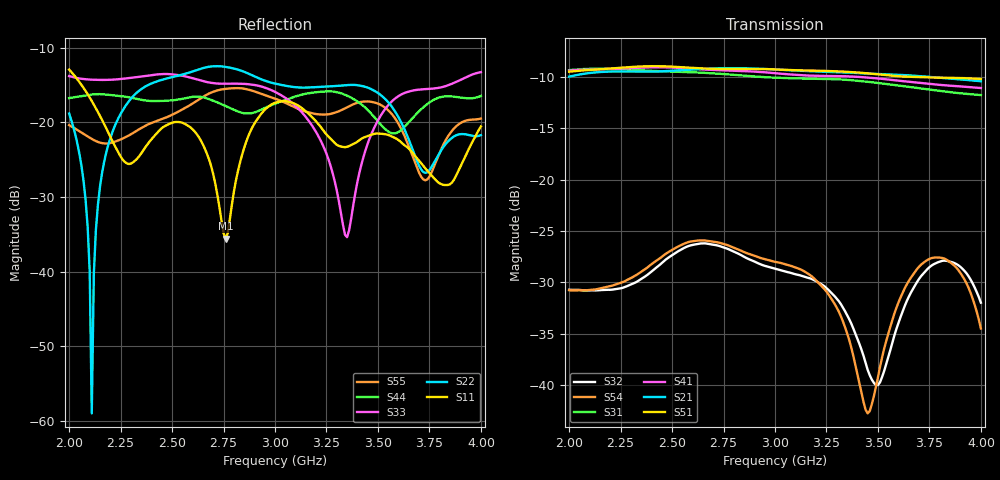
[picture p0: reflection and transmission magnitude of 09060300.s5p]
! Created with skrf 1.8.0 (http://scikit-rf.org).
# Hz S RI R 50.0
!freq ReS11 ImS11 ReS12 ImS12 ReS13 ImS13
! ReS14 ImS14 ReS15 ImS15
! ReS21 ImS21 ReS22 ImS22 ReS23 ImS23
! ReS24 ImS24 ReS25 ImS25
! ReS31 ImS31 ReS32 ImS32 ReS33 ImS33
! ReS34 ImS34 ReS35 ImS35
! ReS41 ImS41 ReS42 ImS42 ReS43 ImS43
! ReS44 ImS44 ReS45 ImS45
! ReS51 ImS51 ReS52 ImS52 ReS53 ImS53
! ReS54 ImS54 ReS55 ImS55
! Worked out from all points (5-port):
!   201 points, 2 GHz to 4 GHz, reference 50 ohm
!   strongest paths, dB at 2 GHz, 2.5 GHz, 3 GHz, 3.5 GHz, 4 GHz:
!     S51: -9.5, -9.0, -9.2, -9.7, -10.2
!     S21: -9.9, -9.4, -9.2, -9.7, -10.4
!     S41: -9.4, -9.1, -9.6, -10.1, -11.1
!     S31: -9.3, -9.4, -10.0, -10.6, -11.7
!     S54: -30.8, -26.9, -28.0, -39.3, -34.5
!     S32: -30.7, -27.4, -28.7, -40.0, -32.0
!   lowest |S11| = -35.6 dB at 2.76 GHz (marker M1), VSWR 1.03, Z = 48.8 + j1.17 ohm
!   |S11| at or under -10 dB: start of sweep to end of sweep
